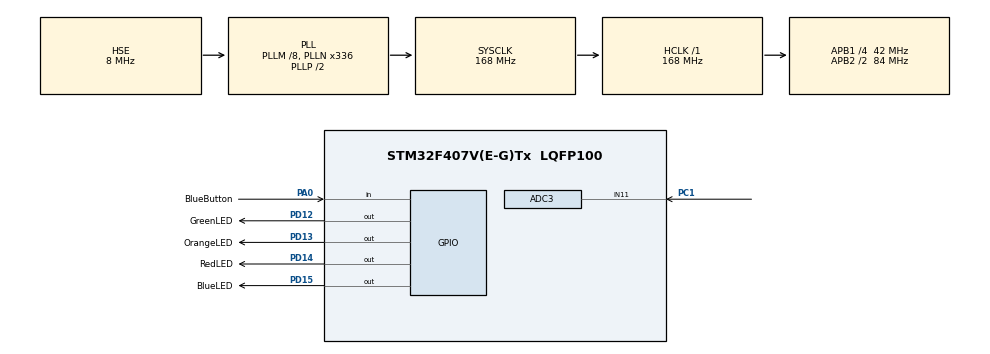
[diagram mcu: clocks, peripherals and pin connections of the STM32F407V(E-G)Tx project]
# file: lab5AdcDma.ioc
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ADC1.Channel-0\#ChannelRegularConversion=ADC_CHANNEL_TEMPSENSOR
ADC1.ContinuousConvMode=ENABLE
ADC1.DMAContinuousRequests=ENABLE
ADC1.InjNumberOfConversion=0
ADC1.NbrOfConversionFlag=1
ADC1.Rank-0\#ChannelRegularConversion=1
ADC1.SamplingTime-0\#ChannelRegularConversion=ADC_SAMPLETIME_84CYCLES
ADC1.master=1
ADC3.Channel-0\#ChannelRegularConversion=ADC_CHANNEL_11
ADC3.ContinuousConvMode=ENABLE
ADC3.DMAContinuousRequests=ENABLE
ADC3.NbrOfConversionFlag=1
ADC3.Rank-0\#ChannelRegularConversion=1
ADC3.SamplingTime-0\#ChannelRegularConversion=ADC_SAMPLETIME_84CYCLES
Dma.ADC1.0.Direction=DMA_PERIPH_TO_MEMORY
Dma.ADC1.0.FIFOMode=DMA_FIFOMODE_DISABLE
Dma.ADC1.0.Instance=DMA2_Stream4
Dma.ADC1.0.MemDataAlignment=DMA_MDATAALIGN_WORD
Dma.ADC1.0.MemInc=DMA_MINC_ENABLE
Dma.ADC1.0.Mode=DMA_CIRCULAR
Dma.ADC1.0.PeriphDataAlignment=DMA_PDATAALIGN_WORD
Dma.ADC1.0.PeriphInc=DMA_PINC_DISABLE
Dma.ADC1.0.Priority=DMA_PRIORITY_LOW
Dma.ADC3.1.Direction=DMA_PERIPH_TO_MEMORY
Dma.ADC3.1.FIFOMode=DMA_FIFOMODE_DISABLE
Dma.ADC3.1.Instance=DMA2_Stream0
Dma.ADC3.1.MemDataAlignment=DMA_MDATAALIGN_WORD
Dma.ADC3.1.MemInc=DMA_MINC_ENABLE
Dma.ADC3.1.Mode=DMA_CIRCULAR
Dma.ADC3.1.PeriphDataAlignment=DMA_PDATAALIGN_WORD
Dma.ADC3.1.PeriphInc=DMA_PINC_DISABLE
Dma.ADC3.1.Priority=DMA_PRIORITY_LOW
Dma.Request0=ADC1
Dma.Request1=ADC3
Mcu.Family=STM32F4
Mcu.Name=STM32F407V(E-G)Tx
Mcu.Package=LQFP100
NVIC.DMA2_Stream0_IRQn=true\:0\:0\:false\:false\:true\:false\:true
NVIC.DMA2_Stream4_IRQn=true\:0\:0\:false\:false\:true\:false\:true
NVIC.PriorityGroup=NVIC_PRIORITYGROUP_4
PA0-WKUP.GPIO_Label=BlueButton
PA0-WKUP.Signal=GPIO_Input
PA13.Mode=Trace_Asynchronous_SW
PA13.Signal=SYS_JTMS-SWDIO
PA14.Mode=Trace_Asynchronous_SW
PA14.Signal=SYS_JTCK-SWCLK
PB3.Mode=Trace_Asynchronous_SW
PB3.Signal=SYS_JTDO-SWO
PC1.Signal=ADCx_IN11
PD12.GPIO_Label=GreenLED
PD12.Signal=GPIO_Output
PD13.GPIO_Label=OrangeLED
PD13.Signal=GPIO_Output
PD14.GPIO_Label=RedLED
PD14.Signal=GPIO_Output
PD15.GPIO_Label=BlueLED
PD15.Signal=GPIO_Output
PH0-OSC_IN.Mode=HSE-External-Oscillator
PH0-OSC_IN.Signal=RCC_OSC_IN
PH1-OSC_OUT.Mode=HSE-External-Oscillator
PH1-OSC_OUT.Signal=RCC_OSC_OUT
ProjectManager.HeapSize=0x200
ProjectManager.StackSize=0x400
ProjectManager.TargetToolchain=STM32CubeIDE
RCC.48MHZClocksFreq_Value=48000000
RCC.AHBFreq_Value=168000000
RCC.APB1CLKDivider=RCC_HCLK_DIV4
RCC.APB1Freq_Value=42000000
RCC.APB1TimFreq_Value=84000000
RCC.APB2CLKDivider=RCC_HCLK_DIV2
RCC.APB2Freq_Value=84000000
RCC.APB2TimFreq_Value=168000000
RCC.CortexFreq_Value=168000000
RCC.HCLKFreq_Value=168000000
RCC.HSE_VALUE=8000000
RCC.HSI_VALUE=16000000
RCC.LSE_VALUE=32768
RCC.PLLM=8
RCC.PLLN=336
RCC.PLLQ=7
RCC.PLLSourceVirtual=RCC_PLLSOURCE_HSE
RCC.SYSCLKFreq_VALUE=168000000
RCC.SYSCLKSource=RCC_SYSCLKSOURCE_PLLCLK
RCC.VCOOutputFreq_Value=336000000
SH.ADCx_IN11.0=ADC1_IN11
SH.ADCx_IN11.1=ADC3_IN11,IN11
VP_ADC1_TempSens_Input.Mode=IN-TempSens
VP_RNG_VS_RNG.Mode=RNG_Activate
board=custom

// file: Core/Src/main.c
/* USER CODE BEGIN Header */
/**
  ******************************************************************************
  * @file           : main.c
  * @brief          : ADC Interrupt Lab 4 by Michael Brown
  ******************************************************************************
  * Reading both thermistor temperature and internal die temp sensor using an interrupt
  * routine provided in lab document. Also using function borrowed from https://docs.google.com/spreadsheets/d/1PfrO_qxVbBeP_dfNPLos5GYfW8l8NlzkDi4FDMJJies/edit#gid=1756690520
  * to do thermistor to temp math, as well as int __io_putchar function provided by Mel to get
  * strings into printf. Also used info from datasheet and reference manual to figure out how
  * to math the raw die sensor reading, which it outline below in the function
  * float ADC1DatatoTemp(unsigned int analogReadValue) at line 382.
  * V1 20/10/06
  ******************************************************************************
  */
/* USER CODE END Header */
#include "main.h"

/* USER CODE BEGIN Includes */

#include <math.h>  //necessary for math
#include <stdio.h> //necessary for printf

/* USER CODE END Includes */

ADC_HandleTypeDef hadc1;
ADC_HandleTypeDef hadc3;
DMA_HandleTypeDef hdma_adc1;
DMA_HandleTypeDef hdma_adc3;

RNG_HandleTypeDef hrng;

/* USER CODE BEGIN PV */

uint32_t thermArray[100];  //array to store thermistor values, 0-99
uint32_t dieArray[100];    //array to store die sensor values, 0-99
float tempTherm = 0;
float tempDie = 0;

/* USER CODE END PV */

void SystemClock_Config(void);
static void MX_GPIO_Init(void);
static void MX_DMA_Init(void);
static void MX_RNG_Init(void);
static void MX_ADC1_Init(void);
static void MX_ADC3_Init(void);

/* USER CODE BEGIN 0 */

uint32_t sample1=0;   //Global so I can stick it in debug settings
uint32_t sample3=0;   //Global so I can stick it in debug settings
float  convertAnalogToTemperature(unsigned int analogReadValue);
float ADC1DatatoTemp(unsigned int analogReadValue);

/* USER CODE END 0 */

int main(void)
{

  /* MCU Configuration--------------------------------------------------------*/

  /* Reset of all peripherals, Initializes the Flash interface and the Systick. */
  HAL_Init();

  /* Configure the system clock */
  SystemClock_Config();

  /* Initialize all configured peripherals */
  MX_GPIO_Init();
  MX_DMA_Init();
  MX_RNG_Init();
  MX_ADC1_Init();
  MX_ADC3_Init();

  /* Infinite loop */
  /* USER CODE BEGIN WHILE */

//  float tempTherm = 0;
//  float tempDie = 0;

  //store entries on thermArray into Dynamic Memory Allocation. Reason for this outside of while (1) is because it is continuous
  HAL_ADC_Start_DMA(&hadc1, dieArray, 100);
  HAL_ADC_Start_DMA(&hadc3, thermArray, 100);

  while (1)
  {

	  for (int i = 0; i < 99; ++i)
	  {
		  tempTherm += thermArray[i];
	  }

	  tempTherm/=100.0;
	  tempTherm=convertAnalogToTemperature(tempTherm);
	  printf("The temperature of the thermister is %.1f degree Celsius\n", tempTherm);
	  HAL_GPIO_WritePin(OrangeLED_GPIO_Port, OrangeLED_Pin, GPIO_PIN_SET);
	  HAL_Delay(250);
	  HAL_GPIO_WritePin(OrangeLED_GPIO_Port, OrangeLED_Pin, GPIO_PIN_RESET);
	  HAL_Delay(250);

	  //graph - download stm32cubemonitor, select and graph variables by selection

	  for (int i = 0; i < 99; ++i)
	  {
	  	  tempDie += dieArray[i];
	  }

	  tempDie/=100.0;
	  tempDie=ADC1DatatoTemp(tempDie);
	  printf("The temperature of the die temp sensor is %.1f degree Celsius\n", tempDie);

    /* USER CODE END WHILE */

  }
}

void SystemClock_Config(void)
{
  RCC_OscInitTypeDef RCC_OscInitStruct = {0};
  RCC_ClkInitTypeDef RCC_ClkInitStruct = {0};

  /** Configure the main internal regulator output voltage
  */
  __HAL_RCC_PWR_CLK_ENABLE();
  __HAL_PWR_VOLTAGESCALING_CONFIG(PWR_REGULATOR_VOLTAGE_SCALE1);
  /** Initializes the RCC Oscillators according to the specified parameters
  * in the RCC_OscInitTypeDef structure.
  */
  RCC_OscInitStruct.OscillatorType = RCC_OSCILLATORTYPE_HSE;
  RCC_OscInitStruct.HSEState = RCC_HSE_ON;
  RCC_OscInitStruct.PLL.PLLState = RCC_PLL_ON;
  RCC_OscInitStruct.PLL.PLLSource = RCC_PLLSOURCE_HSE;
  RCC_OscInitStruct.PLL.PLLM = 8;
  RCC_OscInitStruct.PLL.PLLN = 336;
  RCC_OscInitStruct.PLL.PLLP = RCC_PLLP_DIV2;
  RCC_OscInitStruct.PLL.PLLQ = 7;
  if (HAL_RCC_OscConfig(&RCC_OscInitStruct) != HAL_OK)
  {
    Error_Handler();
  }
  /** Initializes the CPU, AHB and APB buses clocks
  */
  RCC_ClkInitStruct.ClockType = RCC_CLOCKTYPE_HCLK|RCC_CLOCKTYPE_SYSCLK
                              |RCC_CLOCKTYPE_PCLK1|RCC_CLOCKTYPE_PCLK2;
  RCC_ClkInitStruct.SYSCLKSource = RCC_SYSCLKSOURCE_PLLCLK;
  RCC_ClkInitStruct.AHBCLKDivider = RCC_SYSCLK_DIV1;
  RCC_ClkInitStruct.APB1CLKDivider = RCC_HCLK_DIV4;
  RCC_ClkInitStruct.APB2CLKDivider = RCC_HCLK_DIV2;

  if (HAL_RCC_ClockConfig(&RCC_ClkInitStruct, FLASH_LATENCY_5) != HAL_OK)
  {
    Error_Handler();
  }
}

static void MX_ADC1_Init(void)
{

  ADC_ChannelConfTypeDef sConfig = {0};

  /** Configure the global features of the ADC (Clock, Resolution, Data Alignment and number of conversion)
  */
  hadc1.Instance = ADC1;
  hadc1.Init.ClockPrescaler = ADC_CLOCK_SYNC_PCLK_DIV4;
  hadc1.Init.Resolution = ADC_RESOLUTION_12B;
  hadc1.Init.ScanConvMode = DISABLE;
  hadc1.Init.ContinuousConvMode = ENABLE;
  hadc1.Init.DiscontinuousConvMode = DISABLE;
  hadc1.Init.ExternalTrigConvEdge = ADC_EXTERNALTRIGCONVEDGE_NONE;
  hadc1.Init.ExternalTrigConv = ADC_SOFTWARE_START;
  hadc1.Init.DataAlign = ADC_DATAALIGN_RIGHT;
  hadc1.Init.NbrOfConversion = 1;
  hadc1.Init.DMAContinuousRequests = ENABLE;
  hadc1.Init.EOCSelection = ADC_EOC_SINGLE_CONV;
  if (HAL_ADC_Init(&hadc1) != HAL_OK)
  {
    Error_Handler();
  }
  /** Configure for the selected ADC regular channel its corresponding rank in the sequencer and its sample time.
  */
  sConfig.Channel = ADC_CHANNEL_TEMPSENSOR;
  sConfig.Rank = 1;
  sConfig.SamplingTime = ADC_SAMPLETIME_84CYCLES;
  if (HAL_ADC_ConfigChannel(&hadc1, &sConfig) != HAL_OK)
  {
    Error_Handler();
  }

}

static void MX_ADC3_Init(void)
{

  ADC_ChannelConfTypeDef sConfig = {0};

  /** Configure the global features of the ADC (Clock, Resolution, Data Alignment and number of conversion)
  */
  hadc3.Instance = ADC3;
  hadc3.Init.ClockPrescaler = ADC_CLOCK_SYNC_PCLK_DIV4;
  hadc3.Init.Resolution = ADC_RESOLUTION_12B;
  hadc3.Init.ScanConvMode = DISABLE;
  hadc3.Init.ContinuousConvMode = ENABLE;
  hadc3.Init.DiscontinuousConvMode = DISABLE;
  hadc3.Init.ExternalTrigConvEdge = ADC_EXTERNALTRIGCONVEDGE_NONE;
  hadc3.Init.ExternalTrigConv = ADC_SOFTWARE_START;
  hadc3.Init.DataAlign = ADC_DATAALIGN_RIGHT;
  hadc3.Init.NbrOfConversion = 1;
  hadc3.Init.DMAContinuousRequests = ENABLE;
  hadc3.Init.EOCSelection = ADC_EOC_SINGLE_CONV;
  if (HAL_ADC_Init(&hadc3) != HAL_OK)
  {
    Error_Handler();
  }
  /** Configure for the selected ADC regular channel its corresponding rank in the sequencer and its sample time.
  */
  sConfig.Channel = ADC_CHANNEL_11;
  sConfig.Rank = 1;
  sConfig.SamplingTime = ADC_SAMPLETIME_84CYCLES;
  if (HAL_ADC_ConfigChannel(&hadc3, &sConfig) != HAL_OK)
  {
    Error_Handler();
  }

}

static void MX_RNG_Init(void)
{

  hrng.Instance = RNG;
  if (HAL_RNG_Init(&hrng) != HAL_OK)
  {
    Error_Handler();
  }

}

static void MX_DMA_Init(void)
{

  /* DMA controller clock enable */
  __HAL_RCC_DMA2_CLK_ENABLE();

  /* DMA interrupt init */
  /* DMA2_Stream0_IRQn interrupt configuration */
  HAL_NVIC_SetPriority(DMA2_Stream0_IRQn, 0, 0);
  HAL_NVIC_EnableIRQ(DMA2_Stream0_IRQn);
  /* DMA2_Stream4_IRQn interrupt configuration */
  HAL_NVIC_SetPriority(DMA2_Stream4_IRQn, 0, 0);
  HAL_NVIC_EnableIRQ(DMA2_Stream4_IRQn);

}

static void MX_GPIO_Init(void)
{
  GPIO_InitTypeDef GPIO_InitStruct = {0};

  /* GPIO Ports Clock Enable */
  __HAL_RCC_GPIOH_CLK_ENABLE();
  __HAL_RCC_GPIOC_CLK_ENABLE();
  __HAL_RCC_GPIOA_CLK_ENABLE();
  __HAL_RCC_GPIOD_CLK_ENABLE();
  __HAL_RCC_GPIOB_CLK_ENABLE();

  /*Configure GPIO pin Output Level */
  HAL_GPIO_WritePin(GPIOD, GreenLED_Pin|OrangeLED_Pin|RedLED_Pin|BlueLED_Pin, GPIO_PIN_RESET);

  /*Configure GPIO pin : BlueButton_Pin */
  GPIO_InitStruct.Pin = BlueButton_Pin;
  GPIO_InitStruct.Mode = GPIO_MODE_INPUT;
  GPIO_InitStruct.Pull = GPIO_NOPULL;
  HAL_GPIO_Init(BlueButton_GPIO_Port, &GPIO_InitStruct);

  /*Configure GPIO pins : GreenLED_Pin OrangeLED_Pin RedLED_Pin BlueLED_Pin */
  GPIO_InitStruct.Pin = GreenLED_Pin|OrangeLED_Pin|RedLED_Pin|BlueLED_Pin;
  GPIO_InitStruct.Mode = GPIO_MODE_OUTPUT_PP;
  GPIO_InitStruct.Pull = GPIO_NOPULL;
  GPIO_InitStruct.Speed = GPIO_SPEED_FREQ_LOW;
  HAL_GPIO_Init(GPIOD, &GPIO_InitStruct);

}

/* USER CODE BEGIN 4 */
//Supplied by Mel
int __io_putchar(int ch)  //routes character stream to printf
{
  ITM_SendChar(ch);
  return 0;
}

//Borrowed from https://docs.google.com/spreadsheets/d/1PfrO_qxVbBeP_dfNPLos5GYfW8l8NlzkDi4FDMJJies/edit#gid=1756690520
/** Calculate the temperature in °C from ADC (analogRead) value (best accuracy).
 *
 *  This conversion should generate reasonably accurate results over the entire range of
 *  the thermistor, it implements the common 'Beta' approximation for a thermistor
 *  having Beta of 3950, and nominal values of 104000Ω at 25°C
 *
 *  @param   The result of an ADC conversion (analogRead) in the range 0 to 4095
 *  @return  Temperature in °C
 */
float  convertAnalogToTemperature(unsigned int analogReadValue)
{
  // If analogReadValue is 4095, we would otherwise cause a Divide-By-Zero,
  // Treat as crazy out-of-range temperature.
  if(analogReadValue == 4095) return 1000.0;

  return (1/((log(((10000.0 * analogReadValue) / (4095.0 - analogReadValue))/104000.0)/3950.0) + (1 / (273.15 + 25.000)))) - 273.15;
}

float ADC1DatatoTemp(unsigned int analogReadValue)
{
	//local float temp used to do math here
	float temp=0;
	//mapping the voltage based on ADC being 12 bits, where Vdd=2.97
	temp=((analogReadValue/4095.0)*2.97);
	//pg 413 of RM for T=((Vsense-V25)/avg_slope)+25
	//pg 138 of Datasheet to get specific values, where v25=0.76 & avg_slope=0.0025
	temp = ((temp-0.76)/0.0025)+25.0;
	return temp;
}
/* USER CODE END 4 */

void Error_Handler(void)
{
}

/************************ (C) COPYRIGHT STMicroelectronics *****END OF FILE****/
